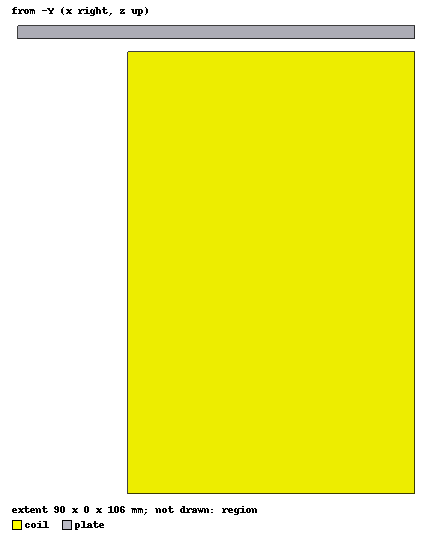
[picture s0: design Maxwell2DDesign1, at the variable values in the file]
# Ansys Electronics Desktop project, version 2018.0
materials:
  vacuum: permittivity=1
  aluminum: permeability=1.000021 conductivity=38000000
  air: permittivity=1.0006 permeability=1.0000004
  iron: permeability=4000 conductivity=10300000

design Maxwell2DDesign1 (Maxwell 2D, EddyCurrent, about Z geometry, model units mm)
options: Multiplier=1
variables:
  var = 0mm
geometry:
  coil [aluminum] = rectangle(corner=(25mm, 0mm, 0mm), z_size=100mm, x_size=65mm)
  plate [aluminum] = rectangle(corner=(0mm, 0mm, 103mm), z_size=3mm, x_size=90mm)
  region [air] = rectangle(corner=(0mm, 0mm, -300mm), z_size=600mm, x_size=300mm)
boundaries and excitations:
  Balloon1: Balloon Edges=region.edge(z opposite corner, x opposite corner, z at corner)
  Symmetry1: Symmetry Edges=region.edge(x at corner) IsOdd=true
  Current1: Current Objects=coil Phase=0deg Current=13200A IsSolid=false IsPositive=true
  eddy effects on: plate
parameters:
  Force1: Force Reference_CS=Global Objects=plate
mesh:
  initial mesh: MeshMethod=AnsoftTAU
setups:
  Setup1: EddyCurrent MaximumPasses=10 MinimumPasses=2 MinimumConvergedPasses=1 PercentRefinement=30 PercentError=1 NonLinearResidual=0.0001 Frequency=50Hz
